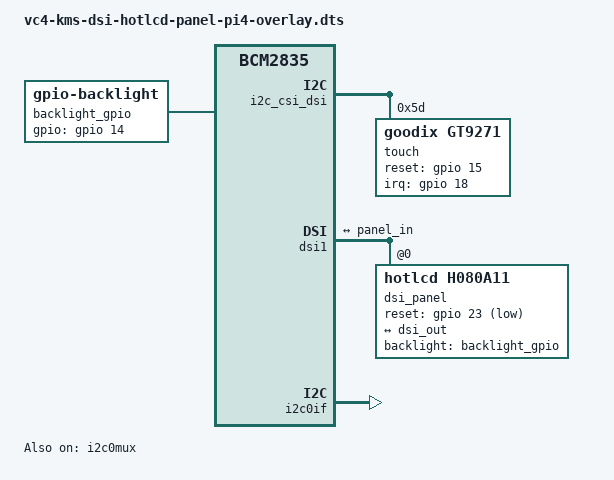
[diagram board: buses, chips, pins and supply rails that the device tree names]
/*
 * vc4-kms-dsi-hotlcd-panel-pi4-overlay.dts
 * 树莓派4版本：背光使用 GPIO 开关控制（GPIO14）
 *
 * 说明：树莓派4(bcm2711)的 GPIO14 为 UART0_TXD，非 PWM0，无法 PWM 调光，
 *       故本版本改用 gpio-backlight 做开/关控制。
 *       若系统启用了占用 GPIO14 的串口，会与背光冲突，需禁用对应串口。
 *
 * 编译前请重命名为 vc4-kms-dsi-hotlcd-panel-overlay.dts
 */

/dts-v1/;
/plugin/;

/ {
	compatible = "brcm,bcm2835";

	i2c_frag: fragment@0 {
		target = <&i2c_csi_dsi>;
		__overlay__ {
			#address-cells = <1>;
			#size-cells = <0>;
			status = "okay";

			touch: goodix@5d {
                compatible = "goodix,gt9271";
				reg = <0x5d>;

                pinctrl-names = "default";
                pinctrl-0 = <&tprst_pin &tpint_pin>;

				interrupt-parent = <&gpio>;
				interrupts = <18 2>; // high-to-low edge triggered
				reset-gpios = <&gpio 15 0>;
                irq-gpios = <&gpio 18 0>;
			};
		};
	};

	dsi_frag: fragment@1 {
		target = <&dsi1>;
		__overlay__  {
			#address-cells = <1>;
			#size-cells = <0>;
			status = "okay";

			port {
				dsi_out: endpoint {
					remote-endpoint = <&panel_in>;
				};
			};

			dsi_panel: dsi_panel@0 {
				compatible = "hotlcd,h080a11";
				reg = <0>;

                pinctrl-names = "default";
                pinctrl-0 = <&rst_pin>;

				reset-gpios = <&gpio 23 1>;

				backlight = <&backlight_gpio>;
				//backlight = <&backlight_pwm>;

				port {
					panel_in: endpoint {
						remote-endpoint = <&dsi_out>;
					};
				};
			};
		};
	};

	fragment@2 {
		target = <&i2c0if>;
		__overlay__ {
			status = "okay";
		};
	};

	fragment@3 {
		target = <&i2c0mux>;
		__overlay__ {
			status = "okay";
		};
	};

    fragment@4 {
        target = <&gpio>;
		__overlay__ {
            rst_pin: rst_pin{
                brcm,pins = <23>;
                brcm,function = <1>; /* output */
				brcm,pull = <0>; // off
            };
            tprst_pin: tprst_pin{
                brcm,pins = <15>;
                brcm,function = <1>; //out
				brcm,pull = <0>; // off
            };
            tpint_pin: tpint_pin{
                brcm,pins = <18>;
                brcm,function = <0>; //in
				brcm,pull = <0>; // off
            };
            backlight_pin: backlight_pin{
                brcm,pins = <14>;
                brcm,function = <1>; /* output */
				brcm,pull = <0>; // off
            };
		};
    };

    fragment@5 {
        target-path = "/";
        __overlay__ {
            backlight_gpio: backlight_gpio {
                compatible = "gpio-backlight";

                pinctrl-names = "default";
                pinctrl-0 = <&backlight_pin>;

                gpios = <&gpio 14 0>;
            };
        };
    };

    fragment@6 {
        target-path = "/";
        __dormant__ {
            backlight_pwm: backlight_pwm {
                compatible = "pwm-backlight";
                pwms = <&pwm 0 50000 0>;
                brightness-levels = <
                    0  1  2  3  4  5  6  7
                    8  9  10  11  12  13  14  15
                    16  17  18  19  20  21  22  23
                    24  25  26  27  28  29  30  31
                    32  33  34  35  36  37  38  39
                    40  41  42  43  44  45  46  47
                    48  49  50  51  52  53  54  55
                    56  57  58  59  60  61  62  63
                    64  65  66  67  68  69  70  71
                    72  73  74  75  76  77  78  79
                    80  81  82  83  84  85  86  87
                    88  89  90  91  92  93  94  95
                    96  97  98  99  100>;
                default-brightness-level = <80>;
            };
        };
    };

    fragment@7 {
        target = <&pwm>;
        __dormant__ {
            pinctrl-names = "default";
	    	pinctrl-0 = <&pwm0_0_gpio12>;
            status = "okay";
        };
    };

	__overrides__ {
		h042a01 = <&dsi_panel>, "compatible=hotlcd,h042a01";
		h043a8 = <&dsi_panel>, "compatible=hotlcd,h043a8";
		h070a23 = <&dsi_panel>, "compatible=hotlcd,h070a23";
		h080a11 = <&dsi_panel>, "compatible=hotlcd,h080a11";
        			// <&touch>, "touchscreen-swapped-x-y",
				    // <&touch>, "touchscreen-inverted-y";

		disable_touch = <&touch>, "status=disabled";
		invx = <&touch>,"touchscreen-inverted-x?";
		invy = <&touch>,"touchscreen-inverted-y?";
		swapxy = <&touch>,"touchscreen-swapped-x-y?";
		dsi0 = <&dsi_frag>, "target:0=",<&dsi0>,
			   <&i2c_frag>, "target:0=",<&i2c_csi_dsi0>;
	};
};
